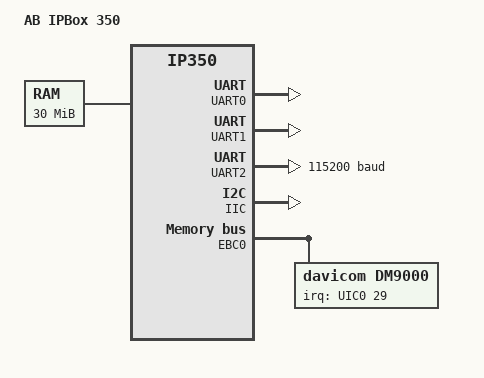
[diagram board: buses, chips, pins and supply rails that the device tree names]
/*
 * Device Tree Source for AB IPBox 350
 *
 * Copyright 2009 robert-wm
 *
 *
 * This file is licensed under the terms of the GNU General Public
 * License version 2.  This program is licensed "as is" without
 * any warranty of any kind, whether express or implied.
 */

/dts-v1/;

/ {
	#address-cells = <1>;
	#size-cells = <1>;
	platform = "IBM STBx25xx";
	model = "AB IPBox 350";
	compatible = "ibm,stbx25xx", "ab,ip350";
	dcr-parent = <&{/cpus/cpu@0}>;

	aliases {
		serial0 = &UART0;
		serial1 = &UART1;
		serial2 = &UART2;
	};

	cpus {
		#address-cells = <1>;
		#size-cells = <0>;

		cpu@0 {
			device_type = "cpu";
			model = "PowerPC,STBx25xx";
			reg = <0x00000000>;
			clock-frequency = <252000000>; /* Filled in by zImage */
			timebase-frequency = <27000000>; /* Filled in by zImage */
			i-cache-line-size = <32>;
			d-cache-line-size = <32>;
			i-cache-size = <16384>;
			d-cache-size = <16384>;
			dcr-controller;
			dcr-access-method = "native";
		};
	};

	memory {
		device_type = "memory";
		reg = <0x00000000 0x01e00000>; /* 30 MB */
	};

	UIC0: interrupt-controller {
		compatible = "ibm,uic";
		interrupt-controller;
		cell-index = <0>;
		dcr-reg = <0x040 0x009>;
		#address-cells = <0>;
		#size-cells = <0>;
		#interrupt-cells = <2>;
	};

	plb {
		compatible = "ibm,plb3";
		#address-cells = <1>;
		#size-cells = <1>;
		ranges;
		clock-frequency = <63000000>; /* Filled in by zImage */

		POB0: opb {
			compatible = "ibm,opb-stbx25xx", "ibm,opb";
			#address-cells = <1>;
			#size-cells = <1>;
			ranges = <0x40000000 0x40000000 0x00100000>;
			dcr-reg = <0x054 0x013 0x0b0 0x003>;
			clock-frequency = <63000000>; /* Filled in by zImage */

			UART0: serial@40040000 {
				device_type = "serial";
				compatible = "ns16550";
				reg = <0x40040000 0x00000008>;
				clock-frequency = <21000000>; /* Filled in by zImage */
				interrupt-parent = <&UIC0>;
				interrupts = <20 4>;
			};

			UART1: serial@40000000 {
				device_type = "serial";
				compatible = "ns16550";
				reg = <0x40000000 0x00000008>;
				clock-frequency = <21000000>; /* Filled in by zImage */
				interrupt-parent = <&UIC0>;
				interrupts = <21 4>;
			};
			
			UART2: serial@40010000 {
				device_type = "serial";
				compatible = "ns16550";
				reg = <0x40010000 0x00000008>;
				clock-frequency = <21000000>; /* Filled in by zImage */
				current-speed = <115200>;
				interrupt-parent = <&UIC0>;
				interrupts = <22 4>;
			};

			IIC: i2c@40030000 {
				compatible = "ibm,iic-stbx25xx";
				reg = <0x40030000 0x00000010>;
				interrupt-parent = <&UIC0>;
				interrupts = <9 4>;
			};

			GPIO: gpio@40060000 {
				compatible = "ibm,ppc4xx-gpio";
				reg = <0x40060000 0x00000020>;
			};
			
			dvb@0 {
				compatible = "ibm,stbx25xx-dvb";
				interrupt-parent = <&UIC0>;
				interrupts = <1 4 2 4 3 4 23 4>;
			};

		};

		EBC0: ebc {
			compatible = "ibm,ebc-stbx25xx", "ibm,ebc";
			dcr-reg = <0x070 0x02b>;
			#address-cells = <2>;
			#size-cells = <1>;
			/* The ranges property is supplied by the bootwrapper
			 * and is based on the firmware's configuration of the
			 * EBC bridge
			 */
			clock-frequency = <63000000>; /* Filled in by zImage */

			dm9000@0,fee00000 {
				compatible = "davicom,dm9000";
				interrupt-parent = <&UIC0>;
				interrupts = <29 8>;
			};
		};
	};

	chosen {
		linux,stdout-path = "/plb/opb/serial@40040000";
	};
};
